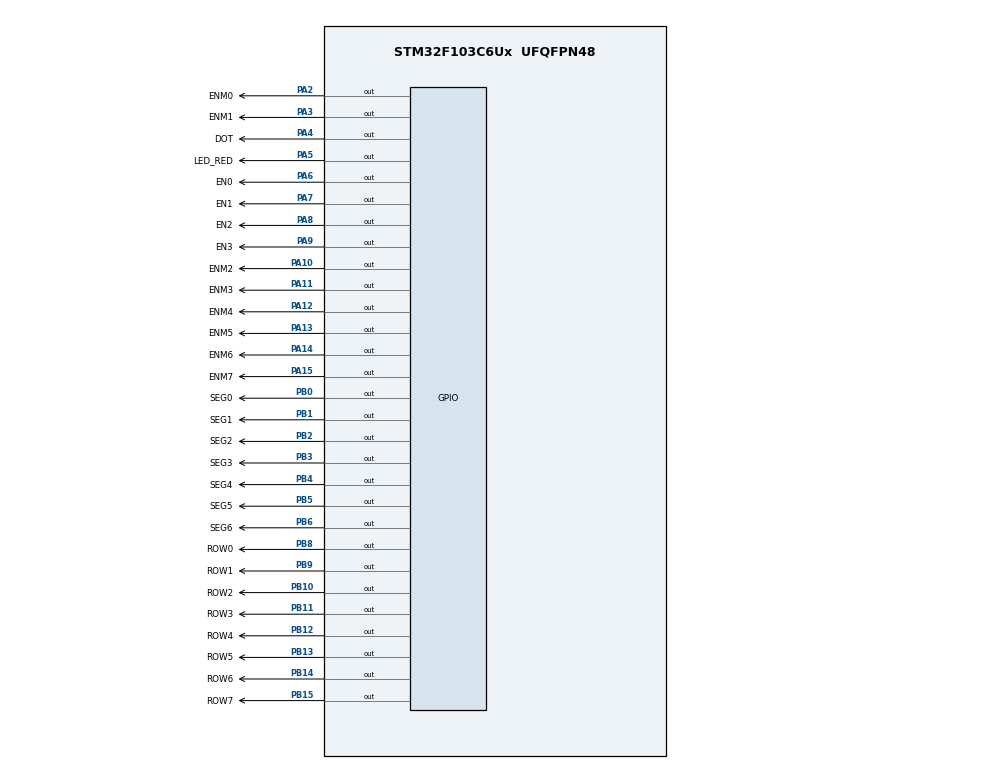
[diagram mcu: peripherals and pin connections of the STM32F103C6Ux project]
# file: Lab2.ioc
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Mcu.Family=STM32F1
Mcu.Name=STM32F103C6Ux
Mcu.Package=UFQFPN48
NVIC.PriorityGroup=NVIC_PRIORITYGROUP_4
NVIC.TIM2_IRQn=true\:0\:0\:false\:false\:true\:true\:true
PA10.GPIO_Label=ENM2
PA10.Signal=GPIO_Output
PA11.GPIO_Label=ENM3
PA11.Signal=GPIO_Output
PA12.GPIO_Label=ENM4
PA12.Signal=GPIO_Output
PA13.GPIO_Label=ENM5
PA13.Signal=GPIO_Output
PA14.GPIO_Label=ENM6
PA14.Signal=GPIO_Output
PA15.GPIO_Label=ENM7
PA15.Signal=GPIO_Output
PA2.GPIO_Label=ENM0
PA2.Signal=GPIO_Output
PA3.GPIO_Label=ENM1
PA3.Signal=GPIO_Output
PA4.GPIO_Label=DOT
PA4.Signal=GPIO_Output
PA5.GPIO_Label=LED_RED
PA5.Signal=GPIO_Output
PA6.GPIO_Label=EN0
PA6.Signal=GPIO_Output
PA7.GPIO_Label=EN1
PA7.Signal=GPIO_Output
PA8.GPIO_Label=EN2
PA8.Signal=GPIO_Output
PA9.GPIO_Label=EN3
PA9.Signal=GPIO_Output
PB0.GPIO_Label=SEG0
PB0.Signal=GPIO_Output
PB1.GPIO_Label=SEG1
PB1.Signal=GPIO_Output
PB10.GPIO_Label=ROW2
PB10.Signal=GPIO_Output
PB11.GPIO_Label=ROW3
PB11.Signal=GPIO_Output
PB12.GPIO_Label=ROW4
PB12.Signal=GPIO_Output
PB13.GPIO_Label=ROW5
PB13.Signal=GPIO_Output
PB14.GPIO_Label=ROW6
PB14.Signal=GPIO_Output
PB15.GPIO_Label=ROW7
PB15.Signal=GPIO_Output
PB2.GPIO_Label=SEG2
PB2.Signal=GPIO_Output
PB3.GPIO_Label=SEG3
PB3.Signal=GPIO_Output
PB4.GPIO_Label=SEG4
PB4.Signal=GPIO_Output
PB5.GPIO_Label=SEG5
PB5.Signal=GPIO_Output
PB6.GPIO_Label=SEG6
PB6.Signal=GPIO_Output
PB8.GPIO_Label=ROW0
PB8.Signal=GPIO_Output
PB9.GPIO_Label=ROW1
PB9.Signal=GPIO_Output
ProjectManager.HeapSize=0x200
ProjectManager.StackSize=0x400
ProjectManager.TargetToolchain=STM32CubeIDE
RCC.APB1Freq_Value=8000000
RCC.APB2Freq_Value=8000000
TIM2.Period=10
TIM2.Prescaler=7999
VP_SYS_VS_ND.Mode=No_Debug
VP_TIM2_VS_ClockSourceINT.Mode=Internal
board=custom

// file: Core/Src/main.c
/* USER CODE BEGIN Header */
/**
  ******************************************************************************
  * @file           : main.c
  * @brief          : Main program body
  ******************************************************************************
  * @attention
  *
  * <h2><center>&copy; Copyright (c) 2022 STMicroelectronics.
  * All rights reserved.</center></h2>
  *
  * This software component is licensed by ST under BSD 3-Clause license,
  * the "License"; You may not use this file except in compliance with the
  * License. You may obtain a copy of the License at:
  *                        opensource.org/licenses/BSD-3-Clause
  *
  ******************************************************************************
  */
/* USER CODE END Header */
#include "main.h"

/* USER CODE BEGIN Includes */
#include "SevenSegmentDisplay.h"
#include "global.h"

/* USER CODE END Includes */

TIM_HandleTypeDef htim2;

void SystemClock_Config(void);
static void MX_GPIO_Init(void);
static void MX_TIM2_Init(void);

/* USER CODE BEGIN 0 */
int timer0_counter = 0;
int timer0_flag = 0;

int timer1_counter = 0;
int timer1_flag = 0;

int timer2_counter = 0;
int timer2_flag = 0;

#define TIMER_CYCLE 10
void setTimer0(int duration){
	timer0_counter = duration / TIMER_CYCLE;
	timer0_flag = 0;
}

void setTimer1(int duration){
	timer1_counter = duration / TIMER_CYCLE;
	timer1_flag = 0;
}

void setTimer2(int duration){
	timer2_counter = duration / TIMER_CYCLE;
	timer2_flag = 0;
}

void timer_run(){
	if(timer0_counter > 0){
		timer0_counter--;
		if(timer0_counter <= 0) timer0_flag = 1;
	}

	if(timer1_counter > 0){
		timer1_counter--;
		if(timer1_counter <= 0) timer1_flag = 1;
	}

	if(timer2_counter > 0){
		timer2_counter--;
		if(timer2_counter <= 0) timer2_flag = 1;
	}
}

//initial timer for clock
int hour = 23, minute = 59, second = 50;
/* USER CODE END 0 */

int main(void)
{

  /* MCU Configuration--------------------------------------------------------*/

  /* Reset of all peripherals, Initializes the Flash interface and the Systick. */
  HAL_Init();

  /* Configure the system clock */
  SystemClock_Config();

  /* Initialize all configured peripherals */
  MX_GPIO_Init();
  MX_TIM2_Init();
  /* USER CODE BEGIN 2 */
  HAL_TIM_Base_Start_IT(&htim2);
  /* USER CODE END 2 */

  /* Infinite loop */
  /* USER CODE BEGIN WHILE */\
  //setup the initial state of DOT led
  HAL_GPIO_WritePin(DOT_GPIO_Port, DOT_Pin, RESET);
  setTimer0(1000); 		//clock time update interval is set to 1 second
  updateClockBuffer();  //initial clock buffer
  while (1)
  {
	  //check ì timer0_flag is set
	  	if(timer0_flag == 1){
	  		//update second
	  		second++;
	  		//check if second is overflow
	  		if(second >= 60){
	  			//reset second
	  			second = 0;
	  			//increase minute
	  			minute++;
	  		}
	  		//check if minute is overflow
	  		if(minute >= 60){
	  			//reset minute
	  			minute = 0;
	  			//increase hour
	  			hour++;
	  		}
	  		//check if hour is overflow
	  		if(hour >= 24){
	  			//reset hour
	  			hour = 0;
	  		}
	  		//update hour and minute in clock buffer
	  		updateClockBuffer();
	  		//toggle DOT led pin
	  		HAL_GPIO_TogglePin(DOT_GPIO_Port, DOT_Pin);
	  		//set timer0 for the next update
	  		setTimer0(1000);
	  	}
    /* USER CODE END WHILE */

  }
}

void SystemClock_Config(void)
{
  RCC_OscInitTypeDef RCC_OscInitStruct = {0};
  RCC_ClkInitTypeDef RCC_ClkInitStruct = {0};

  /** Initializes the RCC Oscillators according to the specified parameters
  * in the RCC_OscInitTypeDef structure.
  */
  RCC_OscInitStruct.OscillatorType = RCC_OSCILLATORTYPE_HSI;
  RCC_OscInitStruct.HSIState = RCC_HSI_ON;
  RCC_OscInitStruct.HSICalibrationValue = RCC_HSICALIBRATION_DEFAULT;
  RCC_OscInitStruct.PLL.PLLState = RCC_PLL_NONE;
  if (HAL_RCC_OscConfig(&RCC_OscInitStruct) != HAL_OK)
  {
    Error_Handler();
  }
  /** Initializes the CPU, AHB and APB buses clocks
  */
  RCC_ClkInitStruct.ClockType = RCC_CLOCKTYPE_HCLK|RCC_CLOCKTYPE_SYSCLK
                              |RCC_CLOCKTYPE_PCLK1|RCC_CLOCKTYPE_PCLK2;
  RCC_ClkInitStruct.SYSCLKSource = RCC_SYSCLKSOURCE_HSI;
  RCC_ClkInitStruct.AHBCLKDivider = RCC_SYSCLK_DIV1;
  RCC_ClkInitStruct.APB1CLKDivider = RCC_HCLK_DIV1;
  RCC_ClkInitStruct.APB2CLKDivider = RCC_HCLK_DIV1;

  if (HAL_RCC_ClockConfig(&RCC_ClkInitStruct, FLASH_LATENCY_0) != HAL_OK)
  {
    Error_Handler();
  }
}

static void MX_TIM2_Init(void)
{

  TIM_ClockConfigTypeDef sClockSourceConfig = {0};
  TIM_MasterConfigTypeDef sMasterConfig = {0};

  htim2.Instance = TIM2;
  htim2.Init.Prescaler = 7999;
  htim2.Init.CounterMode = TIM_COUNTERMODE_UP;
  htim2.Init.Period = 10;
  htim2.Init.ClockDivision = TIM_CLOCKDIVISION_DIV1;
  htim2.Init.AutoReloadPreload = TIM_AUTORELOAD_PRELOAD_DISABLE;
  if (HAL_TIM_Base_Init(&htim2) != HAL_OK)
  {
    Error_Handler();
  }
  sClockSourceConfig.ClockSource = TIM_CLOCKSOURCE_INTERNAL;
  if (HAL_TIM_ConfigClockSource(&htim2, &sClockSourceConfig) != HAL_OK)
  {
    Error_Handler();
  }
  sMasterConfig.MasterOutputTrigger = TIM_TRGO_RESET;
  sMasterConfig.MasterSlaveMode = TIM_MASTERSLAVEMODE_DISABLE;
  if (HAL_TIMEx_MasterConfigSynchronization(&htim2, &sMasterConfig) != HAL_OK)
  {
    Error_Handler();
  }

}

static void MX_GPIO_Init(void)
{
  GPIO_InitTypeDef GPIO_InitStruct = {0};

  /* GPIO Ports Clock Enable */
  __HAL_RCC_GPIOA_CLK_ENABLE();
  __HAL_RCC_GPIOB_CLK_ENABLE();

  /*Configure GPIO pin Output Level */
  HAL_GPIO_WritePin(GPIOA, DOT_Pin|LED_RED_Pin|EN0_Pin|EN1_Pin
                          |EN2_Pin|EN3_Pin, GPIO_PIN_RESET);

  /*Configure GPIO pin Output Level */
  HAL_GPIO_WritePin(GPIOB, SEG0_Pin|SEG1_Pin|SEG2_Pin|SEG3_Pin
                          |SEG4_Pin|SEG5_Pin|SEG6_Pin, GPIO_PIN_RESET);

  /*Configure GPIO pins : DOT_Pin LED_RED_Pin EN0_Pin EN1_Pin
                           EN2_Pin EN3_Pin */
  GPIO_InitStruct.Pin = DOT_Pin|LED_RED_Pin|EN0_Pin|EN1_Pin
                          |EN2_Pin|EN3_Pin;
  GPIO_InitStruct.Mode = GPIO_MODE_OUTPUT_PP;
  GPIO_InitStruct.Pull = GPIO_NOPULL;
  GPIO_InitStruct.Speed = GPIO_SPEED_FREQ_LOW;
  HAL_GPIO_Init(GPIOA, &GPIO_InitStruct);

  /*Configure GPIO pins : SEG0_Pin SEG1_Pin SEG2_Pin SEG3_Pin
                           SEG4_Pin SEG5_Pin SEG6_Pin */
  GPIO_InitStruct.Pin = SEG0_Pin|SEG1_Pin|SEG2_Pin|SEG3_Pin
                          |SEG4_Pin|SEG5_Pin|SEG6_Pin;
  GPIO_InitStruct.Mode = GPIO_MODE_OUTPUT_PP;
  GPIO_InitStruct.Pull = GPIO_NOPULL;
  GPIO_InitStruct.Speed = GPIO_SPEED_FREQ_LOW;
  HAL_GPIO_Init(GPIOB, &GPIO_InitStruct);

}

/* USER CODE BEGIN 4 */
//timer interrupt fucntion being call every 10 ms
//initial 7-segment counter to light up 7-setgment led every 250 ms
int updateCounter = 25;
void HAL_TIM_PeriodElapsedCallback(TIM_HandleTypeDef *htim){
	timer_run();
  //decrease 7-segment counter
  updateCounter--;
  if(updateCounter == 0){
    //reset the counter
    updateCounter = 25;
    update7SEG();
  }
}

/* USER CODE END 4 */

void Error_Handler(void)
{
  __disable_irq();
  while (1)
  {
  }
}

/************************ (C) COPYRIGHT STMicroelectronics *****END OF FILE****/
